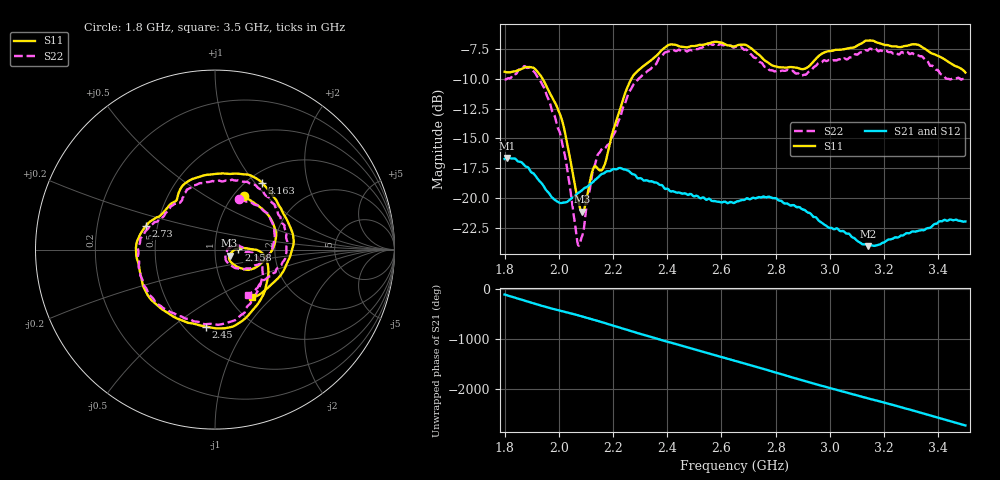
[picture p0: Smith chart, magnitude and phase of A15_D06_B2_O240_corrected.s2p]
! Created with skrf 1.9.0 (http://scikit-rf.org).
# Hz S RI R 50.0
!freq ReS11 ImS11 ReS21 ImS21 ReS12 ImS12 ReS22 ImS22
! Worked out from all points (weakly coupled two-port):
!   1601 points, 1.8 GHz to 3.5 GHz, reference 50 ohm
!   highest |S21| = -16.64 dB at 1.811 GHz (marker M1); lowest = -24.0 dB at 3.142 GHz (marker M2)
!   lowest |S11| = -21.2 dB at 2.087 GHz (marker M3), VSWR 1.19, Z = 58.7 - j3.91 ohm
!   |S11| at or under -10 dB: 1.941 GHz to 2.267 GHz (326.6 MHz wide, 15.5 % of centre)
!   |S22| runs from -24.0 to -7.0 dB; largest |S21 - S12| = 0.0025
!   S11 on the Smith chart (normalised r, x): 1.8 GHz: 1.12, +0.75; 2.158 GHz: 1.30, +0.00; 2.45 GHz: 0.63, -0.66; 2.73 GHz: 0.43, +0.14; 3.163 GHz: 1.16, +1.09; 3.5 GHz: 1.27, -0.76
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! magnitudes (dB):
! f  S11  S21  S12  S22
! 1.8 GHz  -9.4  -16.7  -16.7  -10.0
! 1.811 GHz  -9.4  -16.6  -16.6  -10.0
! 1.88 GHz  -9.0  -17.4  -17.4  -9.0
! 1.942 GHz  -10.1  -18.9  -18.9  -10.6
! 2.011 GHz  -13.4  -20.4  -20.4  -15.3
! 2.067 GHz  -19.8  -19.7  -19.7  -23.4
! 2.084 GHz  -21.1  -19.4  -19.3  -23.3
! 2.087 GHz  -21.2  -19.3  -19.3  -23.1
! 2.127 GHz  -17.5  -18.6  -18.6  -17.6
! 2.158 GHz  -17.7  -18.0  -18.0  -15.9
! 2.195 GHz  -14.7  -17.6  -17.6  -15.0
! 2.263 GHz  -10.2  -17.8  -17.8  -11.0
! 2.367 GHz  -7.9  -18.8  -18.8  -8.3
! 2.45 GHz  -7.3  -19.6  -19.6  -7.7
! 2.65 GHz  -7.3  -20.4  -20.4  -7.3
! 2.73 GHz  -7.8  -20.0  -20.0  -8.3
! 2.934 GHz  -8.7  -21.5  -21.4  -9.2
! 3.142 GHz  -6.8  -24.0  -23.9  -7.6
! 3.163 GHz  -6.8  -24.0  -24.0  -7.5
! 3.217 GHz  -7.2  -23.5  -23.5  -7.7
! 3.325 GHz  -7.1  -22.8  -22.7  -8.0
! 3.5 GHz  -9.5  -22.0  -22.0  -10.1
